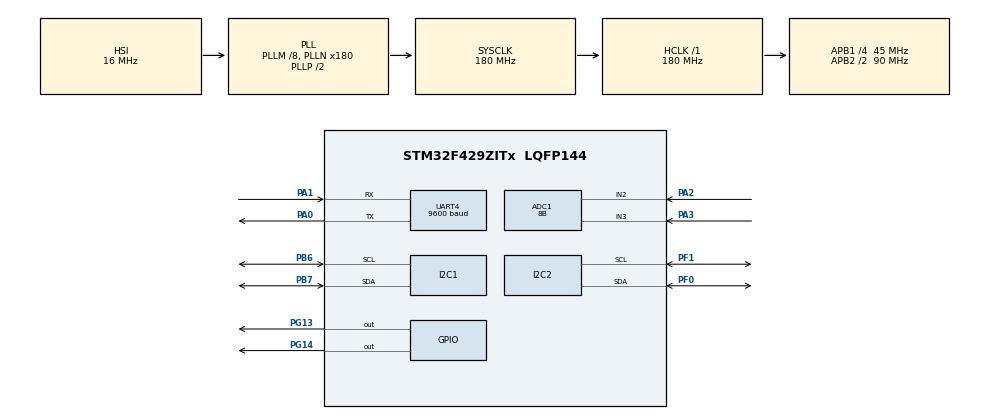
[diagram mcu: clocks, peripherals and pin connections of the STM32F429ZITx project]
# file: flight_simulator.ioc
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ADC1.Channel-7\#ChannelRegularConversion=ADC_CHANNEL_3
ADC1.Channel-8\#ChannelRegularConversion=ADC_CHANNEL_2
ADC1.ContinuousConvMode=ENABLE
ADC1.DMAContinuousRequests=ENABLE
ADC1.EOCSelection=ADC_EOC_SEQ_CONV
ADC1.InjNumberOfConversion=0
ADC1.NbrOfConversion=2
ADC1.NbrOfConversionFlag=1
ADC1.Rank-7\#ChannelRegularConversion=1
ADC1.Rank-8\#ChannelRegularConversion=2
ADC1.Resolution=ADC_RESOLUTION_8B
ADC1.SamplingTime-7\#ChannelRegularConversion=ADC_SAMPLETIME_480CYCLES
ADC1.SamplingTime-8\#ChannelRegularConversion=ADC_SAMPLETIME_3CYCLES
ADC1.ScanConvMode=ENABLE
ADC1.master=1
Dma.ADC1.0.Direction=DMA_PERIPH_TO_MEMORY
Dma.ADC1.0.FIFOMode=DMA_FIFOMODE_DISABLE
Dma.ADC1.0.Instance=DMA2_Stream0
Dma.ADC1.0.MemDataAlignment=DMA_MDATAALIGN_HALFWORD
Dma.ADC1.0.MemInc=DMA_MINC_ENABLE
Dma.ADC1.0.Mode=DMA_CIRCULAR
Dma.ADC1.0.PeriphDataAlignment=DMA_PDATAALIGN_HALFWORD
Dma.ADC1.0.PeriphInc=DMA_PINC_DISABLE
Dma.ADC1.0.Priority=DMA_PRIORITY_MEDIUM
Dma.Request0=ADC1
FREERTOS.Mutexes01=mutexUART,Dynamic,NULL
FREERTOS.Tasks01=task1_manyeto,0,128,taskCOMPASS,Default,NULL,Dynamic,NULL,NULL;task2_bmp,0,128,taskALTITUDE,Default,NULL,Dynamic,NULL,NULL;task4_temp,0,128,taskTEMPERATURE,Default,NULL,Dynamic,NULL,NULL;task5_mpu,0,256,taskGYRO,Default,NULL,Dynamic,NULL,NULL;task6_joy,0,128,taskCONTROL,Default,NULL,Dynamic,NULL,NULL
Mcu.Family=STM32F4
Mcu.Name=STM32F429ZITx
Mcu.Package=LQFP144
NVIC.ADC_IRQn=true\:5\:0\:false\:false\:true\:true\:true\:true
NVIC.DMA2_Stream0_IRQn=true\:5\:0\:false\:false\:true\:true\:false\:true
NVIC.I2C1_EV_IRQn=true\:5\:0\:false\:false\:true\:true\:true\:true
NVIC.PriorityGroup=NVIC_PRIORITYGROUP_4
NVIC.TIM1_UP_TIM10_IRQn=true\:0\:0\:false\:false\:true\:false\:false\:true
NVIC.TimeBase=TIM1_UP_TIM10_IRQn
NVIC.TimeBaseIP=TIM1
NVIC.UART4_IRQn=true\:5\:0\:false\:false\:true\:true\:true\:true
PA0/WKUP.Mode=Asynchronous
PA0/WKUP.Signal=UART4_TX
PA1.Mode=Asynchronous
PA1.Signal=UART4_RX
PA13.Mode=Serial_Wire
PA13.Signal=SYS_JTMS-SWDIO
PA14.Mode=Serial_Wire
PA14.Signal=SYS_JTCK-SWCLK
PA2.Signal=ADCx_IN2
PA3.Signal=ADCx_IN3
PB6.Mode=I2C
PB6.Signal=I2C1_SCL
PB7.Mode=I2C
PB7.Signal=I2C1_SDA
PF0.Mode=I2C
PF0.Signal=I2C2_SDA
PF1.Mode=I2C
PF1.Signal=I2C2_SCL
PG13.Signal=GPIO_Output
PG14.Signal=GPIO_Output
PH0/OSC_IN.Mode=HSE-External-Oscillator
PH0/OSC_IN.Signal=RCC_OSC_IN
PH1/OSC_OUT.Mode=HSE-External-Oscillator
PH1/OSC_OUT.Signal=RCC_OSC_OUT
ProjectManager.HeapSize=0x200
ProjectManager.StackSize=0x400
ProjectManager.TargetToolchain=STM32CubeIDE
RCC.48MHZClocksFreq_Value=90000000
RCC.AHBFreq_Value=180000000
RCC.APB1CLKDivider=RCC_HCLK_DIV4
RCC.APB1Freq_Value=45000000
RCC.APB1TimFreq_Value=90000000
RCC.APB2CLKDivider=RCC_HCLK_DIV2
RCC.APB2Freq_Value=90000000
RCC.APB2TimFreq_Value=180000000
RCC.CortexFreq_Value=180000000
RCC.HCLKFreq_Value=180000000
RCC.HSE_VALUE=25000000
RCC.HSI_VALUE=16000000
RCC.LSE_VALUE=32768
RCC.PLLM=8
RCC.PLLN=180
RCC.SYSCLKFreq_VALUE=180000000
RCC.SYSCLKSource=RCC_SYSCLKSOURCE_PLLCLK
RCC.VCOOutputFreq_Value=360000000
SH.ADCx_IN2.0=ADC1_IN2,IN2
SH.ADCx_IN3.0=ADC1_IN3,IN3
UART4.BaudRate=9600
UART4.VirtualMode=Asynchronous
VP_FREERTOS_VS_CMSIS_V1.Mode=CMSIS_V1
VP_SYS_VS_tim1.Mode=TIM1
board=custom

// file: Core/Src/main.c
/* USER CODE BEGIN Header */
/**
  ******************************************************************************
  * @file           : main.c
  * @brief          : Main program body
  ******************************************************************************
  * @attention
  *
  * <h2><center>&copy; Copyright (c) 2020 STMicroelectronics.
  * All rights reserved.</center></h2>
  *
  * This software component is licensed by ST under BSD 3-Clause license,
  * the "License"; You may not use this file except in compliance with the
  * License. You may obtain a copy of the License at:
  *                        opensource.org/licenses/BSD-3-Clause
  *
  ******************************************************************************
  */
/* USER CODE END Header */
#include "main.h"
#include "cmsis_os.h"

/* USER CODE BEGIN Includes */
#include <stdio.h>
#include "BMP180.h"
#include "MPU6050.h"

/* USER CODE END Includes */

/* USER CODE BEGIN PM */
#define MPU6050_SLAVE_ADDRESS 0xD0
#define MPU6050_WHO_AM_I 0x75
/* USER CODE END PM */

ADC_HandleTypeDef hadc1;
DMA_HandleTypeDef hdma_adc1;

I2C_HandleTypeDef hi2c1;
I2C_HandleTypeDef hi2c2;

UART_HandleTypeDef huart4;

osThreadId task1_manyetoHandle;
osThreadId task2_bmpHandle;
osThreadId task4_tempHandle;
osThreadId task5_mpuHandle;
osThreadId task6_joyHandle;
osMutexId mutexUARTHandle;
/* USER CODE BEGIN PV */
uint16_t rxControl[2];
char uartMsg[50];
float temperature, tempFrac;
int tempInt1, tempInt2, presInt;
RawData_Def myAccelRaw, myGyroRaw;
ScaledData_Def myAccelScaled, myGyroScaled;
MPU_ConfigTypeDef mpu6050_t;
float orientation;
/* USER CODE END PV */

void SystemClock_Config(void);
static void MX_GPIO_Init(void);
static void MX_DMA_Init(void);
static void MX_ADC1_Init(void);
static void MX_UART4_Init(void);
static void MX_I2C1_Init(void);
static void MX_I2C2_Init(void);
void taskCOMPASS(void const * argument);
void taskALTITUDE(void const * argument);
void taskTEMPERATURE(void const * argument);
void taskGYRO(void const * argument);
void taskCONTROL(void const * argument);

/* USER CODE BEGIN 0 */
Gyro_TypeDef gyro;
/* USER CODE END 0 */

int main(void)
{

  /* MCU Configuration--------------------------------------------------------*/

  /* Reset of all peripherals, Initializes the Flash interface and the Systick. */
  HAL_Init();

  /* USER CODE BEGIN Init */
  //static float fTemperature;
  /* USER CODE END Init */

  /* Configure the system clock */
  SystemClock_Config();

  /* Initialize all configured peripherals */
  MX_GPIO_Init();
  MX_DMA_Init();
  MX_ADC1_Init();
  MX_UART4_Init();
  MX_I2C1_Init();
  MX_I2C2_Init();

  /* Create the mutex(es) */
  /* definition and creation of mutexUART */
  osMutexDef(mutexUART);
  mutexUARTHandle = osMutexCreate(osMutex(mutexUART));

  /* Create the thread(s) */
  /* definition and creation of task1_manyeto */
  osThreadDef(task1_manyeto, taskCOMPASS, osPriorityNormal, 0, 128);
  task1_manyetoHandle = osThreadCreate(osThread(task1_manyeto), NULL);

  /* definition and creation of task2_bmp */
  osThreadDef(task2_bmp, taskALTITUDE, osPriorityNormal, 0, 128);
  task2_bmpHandle = osThreadCreate(osThread(task2_bmp), NULL);

  /* definition and creation of task4_temp */
  osThreadDef(task4_temp, taskTEMPERATURE, osPriorityNormal, 0, 128);
  task4_tempHandle = osThreadCreate(osThread(task4_temp), NULL);

  /* definition and creation of task5_mpu */
  osThreadDef(task5_mpu, taskGYRO, osPriorityNormal, 0, 256);
  task5_mpuHandle = osThreadCreate(osThread(task5_mpu), NULL);

  /* definition and creation of task6_joy */
  osThreadDef(task6_joy, taskCONTROL, osPriorityNormal, 0, 128);
  task6_joyHandle = osThreadCreate(osThread(task6_joy), NULL);

  /* Start scheduler */
  osKernelStart();

  /* We should never get here as control is now taken by the scheduler */
  /* Infinite loop */
  while (1)
  {

  }
}

void SystemClock_Config(void)
{
  RCC_OscInitTypeDef RCC_OscInitStruct = {0};
  RCC_ClkInitTypeDef RCC_ClkInitStruct = {0};

  /** Configure the main internal regulator output voltage
  */
  __HAL_RCC_PWR_CLK_ENABLE();
  __HAL_PWR_VOLTAGESCALING_CONFIG(PWR_REGULATOR_VOLTAGE_SCALE1);
  /** Initializes the RCC Oscillators according to the specified parameters
  * in the RCC_OscInitTypeDef structure.
  */
  RCC_OscInitStruct.OscillatorType = RCC_OSCILLATORTYPE_HSI;
  RCC_OscInitStruct.HSIState = RCC_HSI_ON;
  RCC_OscInitStruct.HSICalibrationValue = RCC_HSICALIBRATION_DEFAULT;
  RCC_OscInitStruct.PLL.PLLState = RCC_PLL_ON;
  RCC_OscInitStruct.PLL.PLLSource = RCC_PLLSOURCE_HSI;
  RCC_OscInitStruct.PLL.PLLM = 8;
  RCC_OscInitStruct.PLL.PLLN = 180;
  RCC_OscInitStruct.PLL.PLLP = RCC_PLLP_DIV2;
  RCC_OscInitStruct.PLL.PLLQ = 4;
  if (HAL_RCC_OscConfig(&RCC_OscInitStruct) != HAL_OK)
  {
    Error_Handler();
  }
  /** Activate the Over-Drive mode
  */
  if (HAL_PWREx_EnableOverDrive() != HAL_OK)
  {
    Error_Handler();
  }
  /** Initializes the CPU, AHB and APB buses clocks
  */
  RCC_ClkInitStruct.ClockType = RCC_CLOCKTYPE_HCLK|RCC_CLOCKTYPE_SYSCLK
                              |RCC_CLOCKTYPE_PCLK1|RCC_CLOCKTYPE_PCLK2;
  RCC_ClkInitStruct.SYSCLKSource = RCC_SYSCLKSOURCE_PLLCLK;
  RCC_ClkInitStruct.AHBCLKDivider = RCC_SYSCLK_DIV1;
  RCC_ClkInitStruct.APB1CLKDivider = RCC_HCLK_DIV4;
  RCC_ClkInitStruct.APB2CLKDivider = RCC_HCLK_DIV2;

  if (HAL_RCC_ClockConfig(&RCC_ClkInitStruct, FLASH_LATENCY_5) != HAL_OK)
  {
    Error_Handler();
  }
}

static void MX_ADC1_Init(void)
{

  ADC_ChannelConfTypeDef sConfig = {0};

  /** Configure the global features of the ADC (Clock, Resolution, Data Alignment and number of conversion)
  */
  hadc1.Instance = ADC1;
  hadc1.Init.ClockPrescaler = ADC_CLOCK_SYNC_PCLK_DIV4;
  hadc1.Init.Resolution = ADC_RESOLUTION_8B;
  hadc1.Init.ScanConvMode = ENABLE;
  hadc1.Init.ContinuousConvMode = ENABLE;
  hadc1.Init.DiscontinuousConvMode = DISABLE;
  hadc1.Init.ExternalTrigConvEdge = ADC_EXTERNALTRIGCONVEDGE_NONE;
  hadc1.Init.ExternalTrigConv = ADC_SOFTWARE_START;
  hadc1.Init.DataAlign = ADC_DATAALIGN_RIGHT;
  hadc1.Init.NbrOfConversion = 2;
  hadc1.Init.DMAContinuousRequests = ENABLE;
  hadc1.Init.EOCSelection = ADC_EOC_SEQ_CONV;
  if (HAL_ADC_Init(&hadc1) != HAL_OK)
  {
    Error_Handler();
  }
  /** Configure for the selected ADC regular channel its corresponding rank in the sequencer and its sample time.
  */
  sConfig.Channel = ADC_CHANNEL_3;
  sConfig.Rank = 1;
  sConfig.SamplingTime = ADC_SAMPLETIME_480CYCLES;
  if (HAL_ADC_ConfigChannel(&hadc1, &sConfig) != HAL_OK)
  {
    Error_Handler();
  }
  /** Configure for the selected ADC regular channel its corresponding rank in the sequencer and its sample time.
  */
  sConfig.Channel = ADC_CHANNEL_2;
  sConfig.Rank = 2;
  sConfig.SamplingTime = ADC_SAMPLETIME_3CYCLES;
  if (HAL_ADC_ConfigChannel(&hadc1, &sConfig) != HAL_OK)
  {
    Error_Handler();
  }

}

static void MX_I2C1_Init(void)
{

  hi2c1.Instance = I2C1;
  hi2c1.Init.ClockSpeed = 100000;
  hi2c1.Init.DutyCycle = I2C_DUTYCYCLE_2;
  hi2c1.Init.OwnAddress1 = 0;
  hi2c1.Init.AddressingMode = I2C_ADDRESSINGMODE_7BIT;
  hi2c1.Init.DualAddressMode = I2C_DUALADDRESS_DISABLE;
  hi2c1.Init.OwnAddress2 = 0;
  hi2c1.Init.GeneralCallMode = I2C_GENERALCALL_DISABLE;
  hi2c1.Init.NoStretchMode = I2C_NOSTRETCH_DISABLE;
  if (HAL_I2C_Init(&hi2c1) != HAL_OK)
  {
    Error_Handler();
  }
  /** Configure Analogue filter
  */
  if (HAL_I2CEx_ConfigAnalogFilter(&hi2c1, I2C_ANALOGFILTER_ENABLE) != HAL_OK)
  {
    Error_Handler();
  }
  /** Configure Digital filter
  */
  if (HAL_I2CEx_ConfigDigitalFilter(&hi2c1, 0) != HAL_OK)
  {
    Error_Handler();
  }

}

static void MX_I2C2_Init(void)
{

  hi2c2.Instance = I2C2;
  hi2c2.Init.ClockSpeed = 100000;
  hi2c2.Init.DutyCycle = I2C_DUTYCYCLE_2;
  hi2c2.Init.OwnAddress1 = 0;
  hi2c2.Init.AddressingMode = I2C_ADDRESSINGMODE_7BIT;
  hi2c2.Init.DualAddressMode = I2C_DUALADDRESS_DISABLE;
  hi2c2.Init.OwnAddress2 = 0;
  hi2c2.Init.GeneralCallMode = I2C_GENERALCALL_DISABLE;
  hi2c2.Init.NoStretchMode = I2C_NOSTRETCH_DISABLE;
  if (HAL_I2C_Init(&hi2c2) != HAL_OK)
  {
    Error_Handler();
  }
  /** Configure Analogue filter
  */
  if (HAL_I2CEx_ConfigAnalogFilter(&hi2c2, I2C_ANALOGFILTER_ENABLE) != HAL_OK)
  {
    Error_Handler();
  }
  /** Configure Digital filter
  */
  if (HAL_I2CEx_ConfigDigitalFilter(&hi2c2, 0) != HAL_OK)
  {
    Error_Handler();
  }

}

static void MX_UART4_Init(void)
{

  huart4.Instance = UART4;
  huart4.Init.BaudRate = 9600;
  huart4.Init.WordLength = UART_WORDLENGTH_8B;
  huart4.Init.StopBits = UART_STOPBITS_1;
  huart4.Init.Parity = UART_PARITY_NONE;
  huart4.Init.Mode = UART_MODE_TX_RX;
  huart4.Init.HwFlowCtl = UART_HWCONTROL_NONE;
  huart4.Init.OverSampling = UART_OVERSAMPLING_16;
  if (HAL_UART_Init(&huart4) != HAL_OK)
  {
    Error_Handler();
  }

}

static void MX_DMA_Init(void)
{

  /* DMA controller clock enable */
  __HAL_RCC_DMA2_CLK_ENABLE();

  /* DMA interrupt init */
  /* DMA2_Stream0_IRQn interrupt configuration */
  HAL_NVIC_SetPriority(DMA2_Stream0_IRQn, 5, 0);
  HAL_NVIC_EnableIRQ(DMA2_Stream0_IRQn);

}

static void MX_GPIO_Init(void)
{
  GPIO_InitTypeDef GPIO_InitStruct = {0};

  /* GPIO Ports Clock Enable */
  __HAL_RCC_GPIOF_CLK_ENABLE();
  __HAL_RCC_GPIOH_CLK_ENABLE();
  __HAL_RCC_GPIOA_CLK_ENABLE();
  __HAL_RCC_GPIOG_CLK_ENABLE();
  __HAL_RCC_GPIOB_CLK_ENABLE();

  /*Configure GPIO pin Output Level */
  HAL_GPIO_WritePin(GPIOG, GPIO_PIN_13|GPIO_PIN_14, GPIO_PIN_RESET);

  /*Configure GPIO pins : PG13 PG14 */
  GPIO_InitStruct.Pin = GPIO_PIN_13|GPIO_PIN_14;
  GPIO_InitStruct.Mode = GPIO_MODE_OUTPUT_PP;
  GPIO_InitStruct.Pull = GPIO_NOPULL;
  GPIO_InitStruct.Speed = GPIO_SPEED_FREQ_LOW;
  HAL_GPIO_Init(GPIOG, &GPIO_InitStruct);

}

void taskCOMPASS(void const * argument)
{
  for(;;)
  {
    osDelay(1);
  }
}

void taskALTITUDE(void const * argument)
{
  /* USER CODE BEGIN taskALTITUDE */
  /* Infinite loop */
  BMP180_Init();

  for(;;)
  {
	  BMP180_GetTemperature();
	  BMP180_GetPressure();
	  osMutexWait(mutexUARTHandle, osWaitForever);
	  presInt=10000*comPressure;
	  sprintf(uartMsg, "basinc:0.%d\r\n",presInt);
	  HAL_UART_Transmit(&huart4,uartMsg,strlen(uartMsg),HAL_MAX_DELAY);
	 osMutexRelease(mutexUARTHandle);
	  osDelay(10);
  }
  /* USER CODE END taskALTITUDE */
}

void taskTEMPERATURE(void const * argument)
{
  /* USER CODE BEGIN taskTEMPERATURE */
  /* Infinite loop */

  for(;;)
  {
	  osMutexWait(mutexUARTHandle, osWaitForever);
		  temperature=comTemp*0.1;
		  tempInt1 = temperature;
		  tempFrac = temperature-tempInt1;
		  tempInt2 = tempFrac*10000;
		  sprintf(uartMsg, "sicaklik:%d.%d\r\n",tempInt1,tempInt2);
		  HAL_UART_Transmit(&huart4,uartMsg,strlen(uartMsg),HAL_MAX_DELAY);
	  osMutexRelease(mutexUARTHandle);
    osDelay(50);
  }
  /* USER CODE END taskTEMPERATURE */
}

void taskGYRO(void const * argument)
{
  /* USER CODE BEGIN taskGYRO */
	MPU6050_Init(&hi2c1);
	mpu6050_t.Accel_Full_Scale = AFS_SEL_4g;
	mpu6050_t.ClockSource = Internal_8MHz;
	mpu6050_t.CONFIG_DLPF = DLPF_184A_188G_Hz;
	mpu6050_t.Gyro_Full_Scale = FS_SEL_500;
	mpu6050_t.Sleep_Mode_Bit = 0;  //1: sleep mode, 0: normal mode
	MPU6050_Config(&mpu6050_t);
	gyro.x=0;
	gyro.y=0;
	gyro.z=0;

  /* Infinite loop */
  for(;;)
  {
	/*if(HAL_I2C_IsDeviceReady(&hi2c1, MPU6050_SLAVE_ADDRESS, 3, HAL_MAX_DELAY) == HAL_OK)
	{

		/*while(HAL_I2C_Master_Transmit(&hi2c1, (uint16_t)MPU6050_SLAVE_ADDRESS, MPU6050_WHO_AM_I, 1, 1000) != HAL_OK){

		    if (HAL_I2C_GetError(&amp;hi2c1) != HAL_I2C_ERROR_AF)
		    {
		      Error_Handler();
		    }
		}*/

		MPU6050_Get_Accel_RawData(&myAccelRaw);
		HAL_Delay(10);
		MPU6050_Get_Gyro_RawData(&myGyroRaw);
		HAL_Delay(10);
		MPU6050_Get_Accel_Scale(&myAccelScaled);
		HAL_Delay(10);
		MPU6050_Get_Gyro_Scale(&myGyroScaled);
		HAL_Delay(10);
		osMutexWait(mutexUARTHandle, osWaitForever);
			sprintf(uartMsg, "ivmex:%d ivmey:%d ivmez:%d\r\n",(int16_t)myAccelScaled.x,(int16_t)myAccelScaled.y, (int16_t)myAccelScaled.z);
			HAL_UART_Transmit(&huart4,uartMsg,strlen(uartMsg),HAL_MAX_DELAY);
			sprintf(uartMsg, "gyrox:%d gyroy:%d gyroz:%d\r\n",(int16_t)myGyroScaled.x,(int16_t)myGyroScaled.y, (int16_t)myAccelScaled.z);
			HAL_UART_Transmit(&huart4,uartMsg,strlen(uartMsg),HAL_MAX_DELAY);
		osMutexRelease(mutexUARTHandle);
		//sprintf(uartMsg, "rx%hu\r\n", rxControl);
		//HAL_UART_Transmit(&huart4,myAccelScaled.x,9,HAL_MAX_DELAY);
		//osMutexRelease(mutexUARTHandle);
		//}
    osDelay(50);
  }
  /* USER CODE END taskGYRO */
}

void taskCONTROL(void const * argument)
{
  /* USER CODE BEGIN taskCONTROL */
  /* Infinite loop */
  for(;;)
  {

	  	HAL_ADC_Start_DMA(&hadc1, (uint32_t*)rxControl, 2);
	/*if(HAL_ADC_PollForConversion(&hadc1, 100)== HAL_OK)
	{
		rxControl = HAL_ADC_GetValue(&hadc1);
		HAL_ADC_PollForConversion(&hadc1, 100);
		ryControl = HAL_ADC_GetValue(&hadc1);

		osMutexWait(mutexUARTHandle, osWaitForever);
		sprintf(uartMsg, "rx%hu\r\n", rxControl);
		HAL_UART_Transmit(&huart4,uartMsg,8,HAL_MAX_DELAY);
		sprintf(uartMsg, "ry%hu\r\n", ryControl);
		HAL_UART_Transmit(&huart4,uartMsg,8,HAL_MAX_DELAY);
		osMutexRelease(mutexUARTHandle);

	}
	HAL_ADC_Stop(&hadc1);*/
	  	osMutexWait(mutexUARTHandle, osWaitForever);
	  	sprintf(uartMsg, "rx%d\r\n", rxControl[0]);
	  	HAL_UART_Transmit(&huart4,uartMsg,8,HAL_MAX_DELAY);
	  	sprintf(uartMsg, "ry%d\r\n", rxControl[1]);
	  	HAL_UART_Transmit(&huart4,uartMsg,8,HAL_MAX_DELAY);
	  	osMutexRelease(mutexUARTHandle);
	  	HAL_ADC_Stop_DMA(&hadc1);

	osDelay(50);
	//HAL_UART_Transmit(&huart4, "Selcuk\n", 7, HAL_MAX_DELAY);
  }
  /* USER CODE END taskCONTROL */
}

 /**
  * @brief  Period elapsed callback in non blocking mode
  * @note   This function is called  when TIM1 interrupt took place, inside
  * HAL_TIM_IRQHandler(). It makes a direct call to HAL_IncTick() to increment
  * a global variable "uwTick" used as application time base.
  * @param  htim : TIM handle
  * @retval None
  */
void HAL_TIM_PeriodElapsedCallback(TIM_HandleTypeDef *htim)
{
  if (htim->Instance == TIM1) {
    HAL_IncTick();
  }
}

void Error_Handler(void)
{
  __disable_irq();
  while (1)
  {
  }
}

/************************ (C) COPYRIGHT STMicroelectronics *****END OF FILE****/
